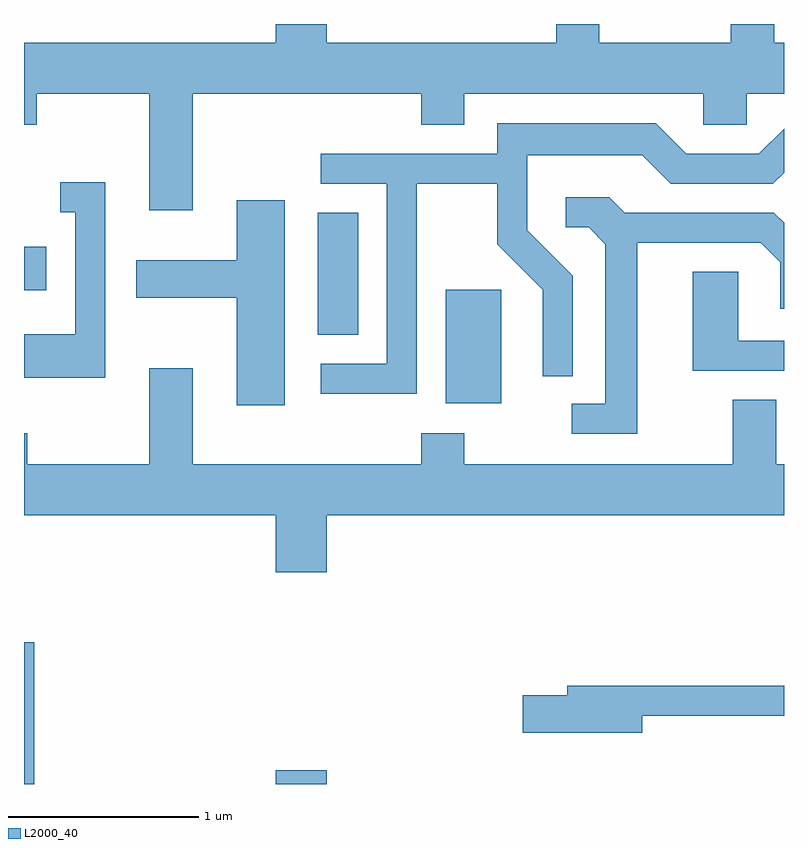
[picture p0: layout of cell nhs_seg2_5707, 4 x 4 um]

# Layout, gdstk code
import gdstk
lib = gdstk.Library(unit=1e-6, precision=1e-09)
def R(c, l, rs):  # rectangles x0, y0, x1, y1
    for r in rs: c.add(gdstk.rectangle(r[:2], r[2:], *l))
def P(c, l, *ps):  # polygons
    for p in ps: c.add(gdstk.Polygon(p, *l))
L2000_40 = (2000, 40)

nhs_seg2_5707 = lib.new_cell('nhs_seg2_5707')
R(nhs_seg2_5707, L2000_40, [(353.611,1035.802,353.664,1036.549), (354.936,1035.802,355.204,1035.874), (355.831,1037.806,356.124,1038.404), (355.156,1038.166,355.369,1038.809), (353.611,1038.401,353.729,1038.629)])
P(nhs_seg2_5707, L2000_40, [(354.499,1039.436),(355.701,1039.436),(355.701,1039.271),(355.929,1039.271),(355.929,1039.436),(357.186,1039.436),(357.186,1039.271),(357.414,1039.271),(357.414,1039.436),(357.611,1039.436),(357.611,1039.704),(357.559,1039.704),(357.559,1039.802),(357.331,1039.802),(357.331,1039.704),(356.639,1039.704),(356.639,1039.802),(356.411,1039.802),(356.411,1039.704),(355.204,1039.704),(355.204,1039.802),(354.936,1039.802),(354.936,1039.704),(353.611,1039.704),(353.611,1039.271),(353.679,1039.271),(353.679,1039.436),(354.271,1039.436),(354.271,1038.821),(354.499,1038.821)],
  [(355.679,1038.961),(356.101,1038.961),(356.101,1038.644),(356.341,1038.404),(356.341,1037.948),(356.499,1037.948),(356.499,1038.477),(356.259,1038.717),(356.259,1039.111),(356.864,1039.111),(357.014,1038.961),(357.552,1038.961),(357.611,1039.02),(357.611,1039.251),(357.479,1039.119),(357.097,1039.119),(356.937,1039.279),(356.101,1039.279),(356.101,1039.119),(355.173,1039.119),(355.173,1038.961),(355.521,1038.961),(355.521,1038.014),(355.173,1038.014),(355.173,1037.856),(355.679,1037.856)],
  [(354.039,1038.969),(353.803,1038.969),(353.803,1038.811),(353.881,1038.811),(353.881,1038.169),(353.611,1038.169),(353.611,1037.941),(354.039,1037.941)],
  [(356.839,1038.651),(357.489,1038.651),(357.591,1038.549),(357.591,1038.303),(357.611,1038.303),(357.611,1038.755),(357.557,1038.809),(356.772,1038.809),(356.692,1038.889),(356.463,1038.889),(356.463,1038.731),(356.584,1038.731),(356.671,1038.644),(356.671,1037.804),(356.493,1037.804),(356.493,1037.646),(356.839,1037.646)],
  [(354.984,1038.874),(354.731,1038.874),(354.731,1038.559),(354.201,1038.559),(354.201,1038.361),(354.731,1038.361),(354.731,1037.796),(354.984,1037.796)],
  [(357.611,1038.134),(357.369,1038.134),(357.369,1038.499),(357.131,1038.499),(357.131,1037.976),(357.611,1037.976)],
  [(353.611,1037.649),(353.611,1037.216),(354.936,1037.216),(354.936,1036.916),(355.204,1036.916),(355.204,1037.216),(357.611,1037.216),(357.611,1037.484),(357.569,1037.484),(357.569,1037.824),(357.341,1037.824),(357.341,1037.484),(355.929,1037.484),(355.929,1037.649),(355.701,1037.649),(355.701,1037.484),(354.499,1037.484),(354.499,1037.989),(354.271,1037.989),(354.271,1037.484),(353.629,1037.484),(353.629,1037.649)],
  [(356.864,1036.161),(357.611,1036.161),(357.611,1036.319),(356.471,1036.319),(356.471,1036.269),(356.236,1036.269),(356.236,1036.071),(356.864,1036.071)])

lib.write_gds('nhs_seg2_5707.gds')
